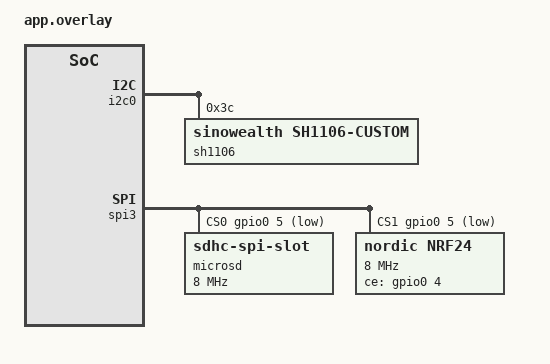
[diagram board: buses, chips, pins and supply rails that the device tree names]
&i2c0 {
    sh1106:sh1106@3c{
        compatible="sinowealth,sh1106-custom";
        status="okay";
        reg=<0x3c>;
    };
};

&spi3 {
    status = "okay";
    cs-gpios = <&gpio0 5 GPIO_ACTIVE_LOW>, <&gpio0 5 GPIO_ACTIVE_LOW>;
    microsd:microsd@0{
     compatible ="zephyr,sdhc-spi-slot";
     spi-max-frequency= <8000000>;
     status="okay";
     reg = <0>;
     
    };

    nrf24:nrf24@1{
        compatible="nordic,nrf24";
        reg=<1>;
        spi-max-frequency=<8000000>;
        ce-gpios=<&gpio0 4 GPIO_ACTIVE_HIGH>;
        status="okay";
    };
};

